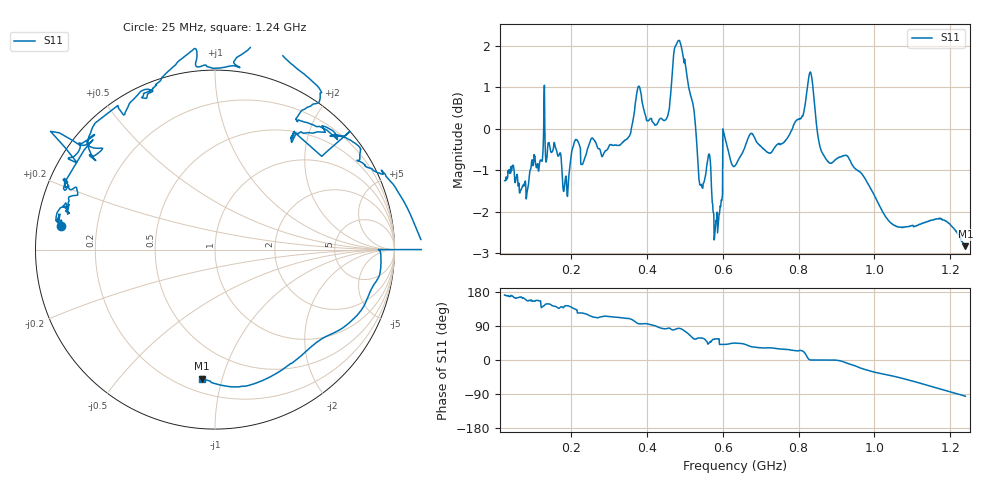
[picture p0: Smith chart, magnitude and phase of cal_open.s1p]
!Created with skrf (http://scikit-rf.org).
# Hz S RI R 50.0
!freq ReS11 ImS11
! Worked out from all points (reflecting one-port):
!   1217 points, 25 MHz to 1.24 GHz, reference 50 ohm
!   lowest |S11| = -2.8 dB at 1.24 GHz (marker M1), VSWR 6.19, Z = 14.4 - j43.2 ohm
!   phase of S11 starts at 171 deg and turns -267 deg over the sweep
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2.5e7  -0.8563 0.1293
1.1393e8  -0.8196 0.3474
1.2692e8  -0.7579 0.5847
1.7688e8  -0.6729 0.5656
1.8987e8  -0.6665 0.4975
2.0685e8  -0.6896 0.6622
2.5681e8  -0.3961 0.8897
3.2975e8  -0.3548 0.8878
3.5673e8  -0.3085 0.9368
3.7871e8  -0.1128 1.12
4.5165e8  0.1299 1.02
4.8063e8  0.1541 1.263
5.2259e8  0.587 0.8876
5.4158e8  0.4505 0.7268
5.6356e8  0.6659 0.6523
5.8454e8  0.437 0.6513
6.0653e8  0.7334 0.6407
6.3251e8  0.6428 0.6337
6.7747e8  0.8106 0.5619
7.8538e8  0.9091 0.4276
8.1036e8  0.9495 0.4182
8.3135e8  1.171 0.000204
8.6132e8  0.9376 0.000164
9.3626e8  0.8978 -0.1774
9.9022e8  0.738 -0.416
1.08814e9  0.4669 -0.6023
1.17207e9  0.1836 -0.7579
1.24001e9  -0.0711 -0.7184
